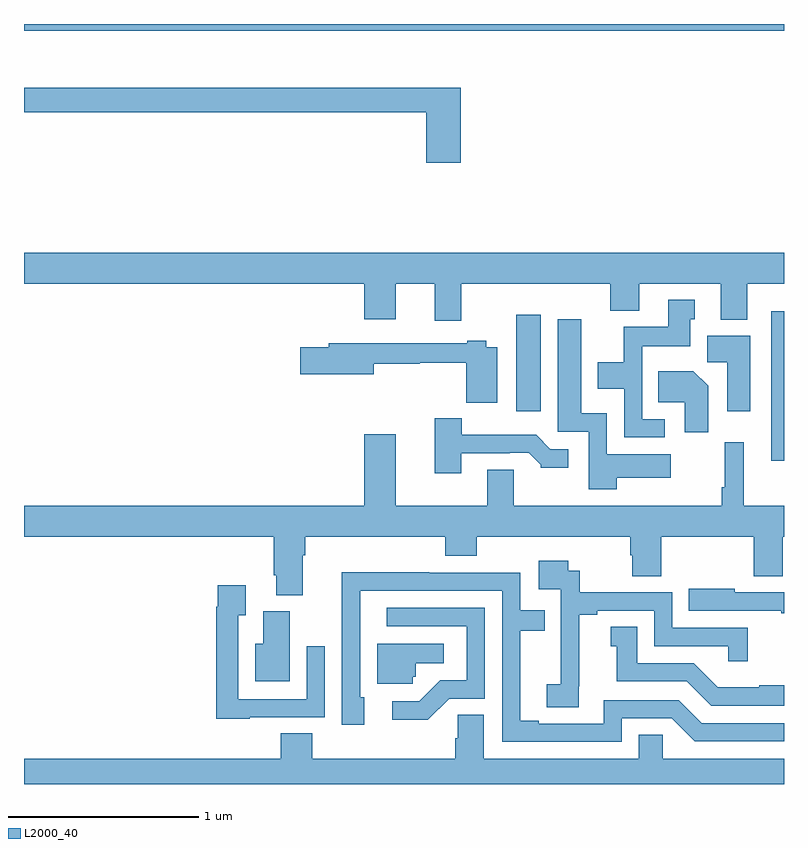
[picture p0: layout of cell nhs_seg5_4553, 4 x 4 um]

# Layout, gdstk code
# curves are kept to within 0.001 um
import gdstk
lib = gdstk.Library(unit=1e-6, precision=1e-09)
def R(c, l, rs):  # rectangles x0, y0, x1, y1
    for r in rs: c.add(gdstk.rectangle(r[:2], r[2:], *l))
def P(c, l, *ps):  # polygons
    for p in ps: c.add(gdstk.Polygon(p, *l))
L2000_40 = (2000, 40)

nhs_seg5_4553 = lib.new_cell('nhs_seg5_4553')
R(nhs_seg5_4553, L2000_40, [(382.934,850.5,383,851.287), (381.59,850.761,381.721,851.269), (379,852.764,383,852.799)])
P(nhs_seg5_4553, L2000_40, [(381.299,852.463),(379,852.463),(379,852.334),(381.116,852.334),(381.116,852.069),(381.299,852.069)],
  [(381.301,851.432),(382.085,851.432),(382.085,851.291),(382.237,851.291),(382.237,851.432),(382.667,851.432),(382.667,851.243),(382.807,851.243),(382.807,851.432),(383,851.432),(383,851.596),(379,851.596),(379,851.432),(380.792,851.432),(380.792,851.244),(380.956,851.244),(380.956,851.432),(381.161,851.432),(381.161,851.238),(381.301,851.238)],
  [(382.372,850.719),(382.254,850.719),(382.254,851.102),(382.507,851.102),(382.507,851.244),(382.531,851.244),(382.531,851.347),(382.391,851.347),(382.391,851.206),(382.156,851.206),(382.156,851.02),(382.019,851.02),(382.019,850.88),(382.158,850.88),(382.158,850.623),(382.372,850.623)],
  [(382.121,850.412),(382.405,850.412),(382.405,850.534),(382.068,850.534),(382.068,850.75),(381.934,850.75),(381.934,851.245),(381.809,851.245),(381.809,850.653),(381.972,850.653),(381.972,850.35),(382.121,850.35)],
  [(382.822,851.158),(382.595,851.158),(382.595,851.02),(382.7,851.02),(382.7,850.761),(382.822,850.761)],
  [(381.49,851.098),(381.432,851.098),(381.432,851.131),(381.332,851.131),(381.332,851.118),(380.603,851.118),(380.603,851.097),(380.454,851.097),(380.454,850.955),(380.842,850.955),(380.842,851.01),(381.084,851.01),(381.084,851.017),(381.328,851.017),(381.328,850.805),(381.49,850.805)],
  [(382.6,850.894),(382.522,850.972),(382.339,850.972),(382.339,850.808),(382.478,850.808),(382.478,850.65),(382.6,850.65)],
  [(381.301,850.539),(381.557,850.539),(381.557,850.542),(381.656,850.542),(381.72,850.478),(381.72,850.463),(381.865,850.463),(381.865,850.56),(381.771,850.56),(381.695,850.636),(381.304,850.636),(381.304,850.723),(381.161,850.723),(381.161,850.434),(381.301,850.434)],
  [(380.467,850.004),(380.48,850.004),(380.48,850.1),(381.218,850.1),(381.218,850.001),(381.383,850.001),(381.383,850.1),(382.19,850.1),(382.19,850.002),(382.202,850.002),(382.202,849.892),(382.355,849.892),(382.355,850.1),(382.841,850.1),(382.841,849.892),(382.993,849.892),(382.993,850.1),(383,850.1),(383,850.264),(382.789,850.264),(382.789,850.597),(382.687,850.597),(382.687,850.36),(382.672,850.36),(382.672,850.264),(381.577,850.264),(381.577,850.454),(381.437,850.454),(381.437,850.264),(380.956,850.264),(380.956,850.639),(380.792,850.639),(380.792,850.264),(379,850.264),(379,850.1),(380.315,850.1),(380.315,849.898),(380.327,849.898),(380.327,849.793),(380.467,849.793)],
  [(381.92,849.313),(381.922,849.313),(381.922,849.691),(382.018,849.691),(382.018,849.711),(382.317,849.711),(382.317,849.525),(382.707,849.525),(382.707,849.444),(382.808,849.444),(382.808,849.621),(382.413,849.621),(382.413,849.807),(381.926,849.807),(381.926,849.921),(381.864,849.921),(381.864,849.973),(381.708,849.973),(381.708,849.825),(381.825,849.825),(381.825,849.521),(381.824,849.521),(381.824,849.324),(381.75,849.324),(381.75,849.202),(381.92,849.202)],
  [(382.146,849.144),(382.41,849.144),(382.53,849.024),(383,849.024),(383,849.12),(382.566,849.12),(382.446,849.24),(382.05,849.24),(382.05,849.117),(381.709,849.117),(381.709,849.132),(381.613,849.132),(381.613,849.606),(381.74,849.606),(381.74,849.714),(381.612,849.714),(381.612,849.912),(381.134,849.912),(381.134,849.914),(380.672,849.914),(380.673,849.111),(380.791,849.111),(380.791,849.255),(380.769,849.255),(380.769,849.816),(381.516,849.816),(381.516,849.021),(382.146,849.021)],
  [(380.187,849.15),(380.583,849.15),(380.583,849.523),(380.487,849.523),(380.487,849.246),(380.127,849.246),(380.127,849.688),(380.167,849.688),(380.167,849.844),(380.019,849.844),(380.019,849.731),(380.011,849.731),(380.011,849.143),(380.187,849.143)],
  [(383,849.807),(382.741,849.807),(382.741,849.826),(382.498,849.826),(382.498,849.711),(382.985,849.711),(382.985,849.699),(383,849.699)],
  [(381.237,849.249),(381.426,849.249),(381.426,849.726),(380.91,849.726),(380.91,849.63),(381.33,849.63),(381.33,849.345),(381.192,849.345),(381.081,849.234),(380.937,849.234),(380.937,849.137),(381.124,849.137)],
  [(380.398,849.708),(380.258,849.708),(380.258,849.538),(380.216,849.538),(380.216,849.341),(380.398,849.341)],
  [(383,849.319),(382.871,849.319),(382.871,849.307),(382.652,849.307),(382.524,849.435),(382.228,849.435),(382.228,849.626),(382.088,849.626),(382.088,849.523),(382.121,849.523),(382.121,849.339),(382.488,849.339),(382.617,849.21),(383,849.21)],
  [(381.045,849.363),(381.063,849.363),(381.063,849.434),(381.208,849.434),(381.208,849.538),(380.858,849.538),(380.858,849.327),(381.045,849.327)],
  [(383,848.932),(382.362,848.932),(382.362,849.059),(382.235,849.059),(382.235,848.932),(381.421,848.932),(381.421,849.164),(381.282,849.164),(381.282,849.041),(381.269,849.041),(381.269,848.932),(380.516,848.932),(380.516,849.065),(380.351,849.065),(380.351,848.932),(379,848.932),(379,848.799),(383,848.799)])

lib.write_gds('nhs_seg5_4553.gds')
